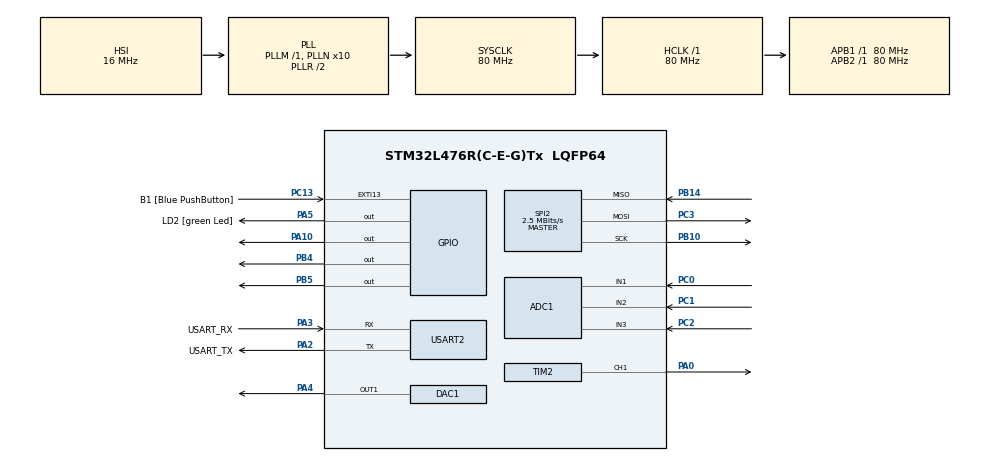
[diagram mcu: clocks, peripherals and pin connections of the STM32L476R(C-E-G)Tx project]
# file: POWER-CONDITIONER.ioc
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ADC1.Channel-0\#ChannelRegularConversion=ADC_CHANNEL_1
ADC1.Channel-1\#ChannelRegularConversion=ADC_CHANNEL_2
ADC1.Channel-2\#ChannelRegularConversion=ADC_CHANNEL_3
ADC1.DMAContinuousRequests=ENABLE
ADC1.ExternalTrigConv=ADC_EXTERNALTRIG_T6_TRGO
ADC1.NbrOfConversion=3
ADC1.NbrOfConversionFlag=1
ADC1.OffsetNumber-0\#ChannelRegularConversion=ADC_OFFSET_NONE
ADC1.OffsetNumber-1\#ChannelRegularConversion=ADC_OFFSET_NONE
ADC1.OffsetNumber-2\#ChannelRegularConversion=ADC_OFFSET_NONE
ADC1.Rank-0\#ChannelRegularConversion=1
ADC1.Rank-1\#ChannelRegularConversion=2
ADC1.Rank-2\#ChannelRegularConversion=3
ADC1.SamplingTime-0\#ChannelRegularConversion=ADC_SAMPLETIME_2CYCLES_5
ADC1.SamplingTime-1\#ChannelRegularConversion=ADC_SAMPLETIME_2CYCLES_5
ADC1.SamplingTime-2\#ChannelRegularConversion=ADC_SAMPLETIME_2CYCLES_5
ADC1.master=1
DAC1.DAC_Trigger-DAC_OUT1=DAC_TRIGGER_T6_TRGO
Dma.ADC1.1.Direction=DMA_PERIPH_TO_MEMORY
Dma.ADC1.1.Instance=DMA1_Channel1
Dma.ADC1.1.MemDataAlignment=DMA_MDATAALIGN_WORD
Dma.ADC1.1.MemInc=DMA_MINC_ENABLE
Dma.ADC1.1.Mode=DMA_NORMAL
Dma.ADC1.1.PeriphDataAlignment=DMA_PDATAALIGN_HALFWORD
Dma.ADC1.1.PeriphInc=DMA_PINC_DISABLE
Dma.ADC1.1.Priority=DMA_PRIORITY_HIGH
Dma.DAC_CH1.0.Direction=DMA_MEMORY_TO_PERIPH
Dma.DAC_CH1.0.Instance=DMA1_Channel3
Dma.DAC_CH1.0.MemDataAlignment=DMA_MDATAALIGN_WORD
Dma.DAC_CH1.0.MemInc=DMA_MINC_ENABLE
Dma.DAC_CH1.0.Mode=DMA_CIRCULAR
Dma.DAC_CH1.0.PeriphDataAlignment=DMA_PDATAALIGN_HALFWORD
Dma.DAC_CH1.0.PeriphInc=DMA_PINC_DISABLE
Dma.DAC_CH1.0.Priority=DMA_PRIORITY_HIGH
Dma.Request0=DAC_CH1
Dma.Request1=ADC1
FREERTOS.Tasks01=defaultTask,24,128,StartDefaultTask,Default,NULL,Dynamic,NULL,NULL
Mcu.Family=STM32L4
Mcu.Name=STM32L476R(C-E-G)Tx
Mcu.Package=LQFP64
NVIC.DMA1_Channel1_IRQn=true\:5\:0\:false\:false\:true\:true\:false\:true\:true
NVIC.DMA1_Channel3_IRQn=true\:5\:0\:false\:false\:true\:true\:false\:true\:true
NVIC.PriorityGroup=NVIC_PRIORITYGROUP_4
PA0.Signal=S_TIM2_CH1
PA10.Signal=GPIO_Output
PA13\ (JTMS-SWDIO).GPIO_Label=TMS
PA13\ (JTMS-SWDIO).Mode=Serial_Wire
PA13\ (JTMS-SWDIO).Signal=SYS_JTMS-SWDIO
PA14\ (JTCK-SWCLK).GPIO_Label=TCK
PA14\ (JTCK-SWCLK).Mode=Serial_Wire
PA14\ (JTCK-SWCLK).Signal=SYS_JTCK-SWCLK
PA2.GPIO_Label=USART_TX
PA2.GPIO_Mode=GPIO_MODE_AF_PP
PA2.GPIO_PuPd=GPIO_NOPULL
PA2.GPIO_Speed=GPIO_SPEED_FREQ_VERY_HIGH
PA2.Mode=Asynchronous
PA2.Signal=USART2_TX
PA3.GPIO_Label=USART_RX
PA3.GPIO_Mode=GPIO_MODE_AF_PP
PA3.GPIO_PuPd=GPIO_NOPULL
PA3.GPIO_Speed=GPIO_SPEED_FREQ_VERY_HIGH
PA3.Mode=Asynchronous
PA3.Signal=USART2_RX
PA4.Signal=COMP_DAC11_group
PA5.GPIO_Label=LD2 [green Led]
PA5.GPIO_ModeDefaultOutputPP=GPIO_MODE_OUTPUT_PP
PA5.GPIO_PuPd=GPIO_NOPULL
PA5.GPIO_Speed=GPIO_SPEED_FREQ_LOW
PA5.Signal=GPIO_Output
PB10.Mode=Full_Duplex_Master
PB10.Signal=SPI2_SCK
PB14.Mode=Full_Duplex_Master
PB14.Signal=SPI2_MISO
PB3\ (JTDO-TRACESWO).GPIO_Label=SWO
PB3\ (JTDO-TRACESWO).Signal=SYS_JTDO-SWO
PB4\ (NJTRST).Signal=GPIO_Output
PB5.Signal=GPIO_Output
PC0.Signal=ADCx_IN1
PC1.Signal=ADCx_IN2
PC13.GPIO_Label=B1 [Blue PushButton]
PC13.GPIO_ModeDefaultEXTI=GPIO_MODE_IT_FALLING
PC13.GPIO_PuPd=GPIO_NOPULL
PC13.Signal=GPXTI13
PC14-OSC32_IN\ (PC14).Mode=LSE-External-Oscillator
PC14-OSC32_IN\ (PC14).Signal=RCC_OSC32_IN
PC15-OSC32_OUT\ (PC15).Mode=LSE-External-Oscillator
PC15-OSC32_OUT\ (PC15).Signal=RCC_OSC32_OUT
PC2.Signal=ADCx_IN3
PC3.Mode=Full_Duplex_Master
PC3.Signal=SPI2_MOSI
PH0-OSC_IN\ (PH0).Signal=RCC_OSC_IN
PH1-OSC_OUT\ (PH1).Signal=RCC_OSC_OUT
ProjectManager.HeapSize=0x200
ProjectManager.StackSize=0x400
ProjectManager.TargetToolchain=STM32CubeIDE
RCC.ADCFreq_Value=64000000
RCC.AHBFreq_Value=80000000
RCC.APB1Freq_Value=80000000
RCC.APB1TimFreq_Value=80000000
RCC.APB2Freq_Value=80000000
RCC.APB2TimFreq_Value=80000000
RCC.CortexFreq_Value=80000000
RCC.HCLKFreq_Value=80000000
RCC.HSE_VALUE=8000000
RCC.HSI_VALUE=16000000
RCC.MSI_VALUE=4000000
RCC.PLLN=10
RCC.PLLSourceVirtual=RCC_PLLSOURCE_HSI
RCC.PREFETCH_ENABLE=1
RCC.SYSCLKFreq_VALUE=80000000
RCC.SYSCLKSource=RCC_SYSCLKSOURCE_PLLCLK
RCC.USBFreq_Value=64000000
RCC.VCOOutputFreq_Value=160000000
SH.ADCx_IN1.0=ADC1_IN1,IN1-Single-Ended
SH.ADCx_IN2.0=ADC1_IN2,IN2-Single-Ended
SH.ADCx_IN3.0=ADC1_IN3,IN3-Single-Ended
SH.COMP_DAC11_group.0=DAC1_OUT1,DAC_OUT1
SH.S_TIM2_CH1.0=TIM2_CH1,PWM Generation1 CH1
SPI2.BaudRatePrescaler=SPI_BAUDRATEPRESCALER_32
SPI2.CalculateBaudRate=2.5 MBits/s
SPI2.DataSize=SPI_DATASIZE_8BIT
SPI2.Direction=SPI_DIRECTION_2LINES
SPI2.Mode=SPI_MODE_MASTER
SPI2.VirtualType=VM_MASTER
TIM2.AutoReloadPreload=TIM_AUTORELOAD_PRELOAD_ENABLE
TIM2.Channel-PWM\ Generation1\ CH1=TIM_CHANNEL_1
TIM2.Period=1000-1
TIM2.Prescaler=80-1
TIM2.Pulse-PWM\ Generation1\ CH1=500
TIM6.AutoReloadPreload=TIM_AUTORELOAD_PRELOAD_DISABLE
TIM6.Period=100-1
TIM6.Prescaler=125-1
TIM6.TIM_MasterOutputTrigger=TIM_TRGO_UPDATE
USART2.VirtualMode-Asynchronous=VM_ASYNC
VP_FREERTOS_VS_CMSIS_V2.Mode=CMSIS_V2
VP_TIM2_VS_ClockSourceINT.Mode=Internal
VP_TIM6_VS_ClockSourceINT.Mode=Enable_Timer
board=NUCLEO-L476RG

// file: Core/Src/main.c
/* USER CODE BEGIN Header */
/**
  ******************************************************************************
  * @file           : main.c
  * @brief          : Main program body
  ******************************************************************************
  * @attention
  *
  * Copyright (c) 2024 STMicroelectronics.
  * All rights reserved.
  *
  * This software is licensed under terms that can be found in the LICENSE file
  * in the root directory of this software component.
  * If no LICENSE file comes with this software, it is provided AS-IS.
  *
  ******************************************************************************
  */
/* USER CODE END Header */
#include "main.h"
#include "cmsis_os.h"
#include "queue.h"
#include "semphr.h"
/* USER CODE BEGIN Includes */
#include "st7735.h"
#include "measurements.h"
/* USER CODE END Includes */

/* USER CODE BEGIN PD */
uint32_t SinusValues[128] ={
   2048U, 2145U, 2242U, 2339U, 2435U, 2530U, 2624U, 2717U, 2808U, 2897U,
   2984U, 3069U, 3151U, 3230U, 3307U, 3381U, 3451U, 3518U, 3581U, 3640U,
   3696U, 3748U, 3795U, 3838U, 3877U, 3911U, 3941U, 3966U, 3986U, 4002U,
   4013U, 4019U, 4020U, 4016U, 4008U, 3995U, 3977U, 3954U, 3926U, 3894U,
   3858U, 3817U, 3772U, 3722U, 3669U, 3611U, 3550U, 3485U, 3416U, 3344U,
   3269U, 3191U, 3110U, 3027U, 2941U, 2853U, 2763U, 2671U, 2578U, 2483U,
   2387U, 2291U, 2194U, 2096U, 1999U, 1901U, 1804U, 1708U, 1612U, 1517U,
   1424U, 1332U, 1242U, 1154U, 1068U, 985U, 904U, 826U, 751U, 679U,
   610U, 545U, 484U, 426U, 373U, 323U, 278U, 237U, 201U, 169U,
   141U, 118U, 100U, 87U, 79U, 75U, 76U, 82U, 93U, 109U,
   129U, 154U, 184U, 218U, 257U, 300U, 347U, 399U, 455U, 514U,
   577U, 644U, 714U, 788U, 865U, 944U, 1026U, 1111U, 1198U, 1287U,
   1378U, 1471U, 1565U, 1660U, 1756U, 1853U, 1950U, 2047
};

SemaphoreHandle_t xSemaphore_DisplayInit = NULL;
/* USER CODE END PD */

ADC_HandleTypeDef hadc1;
DMA_HandleTypeDef hdma_adc1;

DAC_HandleTypeDef hdac1;
DMA_HandleTypeDef hdma_dac_ch1;

SPI_HandleTypeDef hspi2;

TIM_HandleTypeDef htim2;
TIM_HandleTypeDef htim6;

UART_HandleTypeDef huart2;

/* Definitions for defaultTask */
osThreadId_t defaultTaskHandle;
const osThreadAttr_t defaultTask_attributes = {
  .name = "defaultTask",
  .stack_size = 128 * 4,
  .priority = (osPriority_t) osPriorityNormal,
};

/* Definitions for DisplayTask */
osThreadId_t DisplayTaskHandle;
const osThreadAttr_t DisplayTask_attributes = {
  .name = "DisplayTask",
  .stack_size = 256 * 4,
  .priority = (osPriority_t) osPriorityNormal,
};

/* Definitions for CalculationTask */
osThreadId_t CalculationTaskHandle;
const osThreadAttr_t CalculationTask_attributes = {
  .name = "CalculationTask",
  .stack_size = 5120 * 4,
  .priority = (osPriority_t) osPriorityHigh,
};
/* USER CODE BEGIN PV */
QueueHandle_t xQueueMeasureWatchList;
/* USER CODE END PV */

void SystemClock_Config(void);
static void MX_GPIO_Init(void);
static void MX_DMA_Init(void);
static void MX_USART2_UART_Init(void);
static void MX_SPI2_Init(void);
static void MX_DAC1_Init(void);
static void MX_TIM6_Init(void);
static void MX_ADC1_Init(void);
static void MX_TIM2_Init(void);
void StartDefaultTask(void *argument);
void StartDisplayTask(void *argument);
void StartCalculationTask(void *argument);

int main(void)
{

  /* MCU Configuration--------------------------------------------------------*/

  /* Reset of all peripherals, Initializes the Flash interface and the Systick. */
  HAL_Init();

  /* Configure the system clock */
  SystemClock_Config();

  /* Initialize all configured peripherals */
  MX_GPIO_Init();
  MX_DMA_Init();
  MX_USART2_UART_Init();
  MX_SPI2_Init();
  MX_DAC1_Init();
  MX_TIM6_Init();
  MX_ADC1_Init();
  MX_TIM2_Init();
  /* USER CODE BEGIN 2 */
  ST7735_Init();
  HAL_TIM_Base_Start(&htim6);
  HAL_DAC_Start_DMA(&hdac1, DAC_CHANNEL_1, SinusValues, SAMPLES_AMOUNT_PER_ONE_PERIOD, DAC_ALIGN_12B_R);
  HAL_ADC_Start_DMA(&hadc1, Samples[0], AMOUNT_OF_ALL_SAMPLES);
  HAL_TIM_PWM_Start(&htim2, TIM_CHANNEL_1);
  /* USER CODE END 2 */

  /* Init scheduler */
  osKernelInitialize();

  /* USER CODE BEGIN RTOS_SEMAPHORES */
  /* add semaphores, ... */
  xSemaphore_DisplayInit = xSemaphoreCreateBinary();
  if (NULL == xSemaphore_DisplayInit) while(1);
  xSemaphoreGive(xSemaphore_DisplayInit);
  /* USER CODE END RTOS_SEMAPHORES */

  /* USER CODE BEGIN RTOS_QUEUES */
  /* add queues, ... */
  xQueueMeasureWatchList = xQueueCreate(5U, sizeof(Measure_Message_t));
  if(NULL == xQueueMeasureWatchList)
  {
    Error_Handler();
  }
  /* USER CODE END RTOS_QUEUES */

  /* Create the thread(s) */
  /* creation of defaultTask */
  defaultTaskHandle = osThreadNew(StartDefaultTask, NULL, &defaultTask_attributes);

  /* creation of DisplayTask */
  DisplayTaskHandle = osThreadNew(StartDisplayTask, NULL, &DisplayTask_attributes);

  /* creation of CalculationTask */
  CalculationTaskHandle = osThreadNew(StartCalculationTask, NULL, &CalculationTask_attributes);

  vTaskSuspend(CalculationTaskHandle);

  /* Start scheduler */
  osKernelStart();

  /* We should never get here as control is now taken by the scheduler */
  /* Infinite loop */
  while (1)
  {

  }
}

void SystemClock_Config(void)
{
  RCC_OscInitTypeDef RCC_OscInitStruct = {0};
  RCC_ClkInitTypeDef RCC_ClkInitStruct = {0};

  /** Configure the main internal regulator output voltage
  */
  if (HAL_PWREx_ControlVoltageScaling(PWR_REGULATOR_VOLTAGE_SCALE1) != HAL_OK)
  {
    Error_Handler();
  }

  /** Initializes the RCC Oscillators according to the specified parameters
  * in the RCC_OscInitTypeDef structure.
  */
  RCC_OscInitStruct.OscillatorType = RCC_OSCILLATORTYPE_HSI;
  RCC_OscInitStruct.HSIState = RCC_HSI_ON;
  RCC_OscInitStruct.HSICalibrationValue = RCC_HSICALIBRATION_DEFAULT;
  RCC_OscInitStruct.PLL.PLLState = RCC_PLL_ON;
  RCC_OscInitStruct.PLL.PLLSource = RCC_PLLSOURCE_HSI;
  RCC_OscInitStruct.PLL.PLLM = 1;
  RCC_OscInitStruct.PLL.PLLN = 10;
  RCC_OscInitStruct.PLL.PLLP = RCC_PLLP_DIV7;
  RCC_OscInitStruct.PLL.PLLQ = RCC_PLLQ_DIV2;
  RCC_OscInitStruct.PLL.PLLR = RCC_PLLR_DIV2;
  if (HAL_RCC_OscConfig(&RCC_OscInitStruct) != HAL_OK)
  {
    Error_Handler();
  }

  /** Initializes the CPU, AHB and APB buses clocks
  */
  RCC_ClkInitStruct.ClockType = RCC_CLOCKTYPE_HCLK|RCC_CLOCKTYPE_SYSCLK
                              |RCC_CLOCKTYPE_PCLK1|RCC_CLOCKTYPE_PCLK2;
  RCC_ClkInitStruct.SYSCLKSource = RCC_SYSCLKSOURCE_PLLCLK;
  RCC_ClkInitStruct.AHBCLKDivider = RCC_SYSCLK_DIV1;
  RCC_ClkInitStruct.APB1CLKDivider = RCC_HCLK_DIV1;
  RCC_ClkInitStruct.APB2CLKDivider = RCC_HCLK_DIV1;

  if (HAL_RCC_ClockConfig(&RCC_ClkInitStruct, FLASH_LATENCY_4) != HAL_OK)
  {
    Error_Handler();
  }
}

static void MX_ADC1_Init(void)
{

  ADC_MultiModeTypeDef multimode = {0};
  ADC_ChannelConfTypeDef sConfig = {0};

  /** Common config
  */
  hadc1.Instance = ADC1;
  hadc1.Init.ClockPrescaler = ADC_CLOCK_ASYNC_DIV1;
  hadc1.Init.Resolution = ADC_RESOLUTION_12B;
  hadc1.Init.DataAlign = ADC_DATAALIGN_RIGHT;
  hadc1.Init.ScanConvMode = ADC_SCAN_ENABLE;
  hadc1.Init.EOCSelection = ADC_EOC_SINGLE_CONV;
  hadc1.Init.LowPowerAutoWait = DISABLE;
  hadc1.Init.ContinuousConvMode = DISABLE;
  hadc1.Init.NbrOfConversion = 3;
  hadc1.Init.DiscontinuousConvMode = DISABLE;
  hadc1.Init.ExternalTrigConv = ADC_EXTERNALTRIG_T6_TRGO;
  hadc1.Init.ExternalTrigConvEdge = ADC_EXTERNALTRIGCONVEDGE_RISING;
  hadc1.Init.DMAContinuousRequests = ENABLE;
  hadc1.Init.Overrun = ADC_OVR_DATA_PRESERVED;
  hadc1.Init.OversamplingMode = DISABLE;
  if (HAL_ADC_Init(&hadc1) != HAL_OK)
  {
    Error_Handler();
  }

  /** Configure the ADC multi-mode
  */
  multimode.Mode = ADC_MODE_INDEPENDENT;
  if (HAL_ADCEx_MultiModeConfigChannel(&hadc1, &multimode) != HAL_OK)
  {
    Error_Handler();
  }

  /** Configure Regular Channel
  */
  sConfig.Channel = ADC_CHANNEL_1;
  sConfig.Rank = ADC_REGULAR_RANK_1;
  sConfig.SamplingTime = ADC_SAMPLETIME_2CYCLES_5;
  sConfig.SingleDiff = ADC_SINGLE_ENDED;
  sConfig.OffsetNumber = ADC_OFFSET_NONE;
  sConfig.Offset = 0;
  if (HAL_ADC_ConfigChannel(&hadc1, &sConfig) != HAL_OK)
  {
    Error_Handler();
  }

  /** Configure Regular Channel
  */
  sConfig.Channel = ADC_CHANNEL_2;
  sConfig.Rank = ADC_REGULAR_RANK_2;
  if (HAL_ADC_ConfigChannel(&hadc1, &sConfig) != HAL_OK)
  {
    Error_Handler();
  }

  /** Configure Regular Channel
  */
  sConfig.Channel = ADC_CHANNEL_3;
  sConfig.Rank = ADC_REGULAR_RANK_3;
  if (HAL_ADC_ConfigChannel(&hadc1, &sConfig) != HAL_OK)
  {
    Error_Handler();
  }

}

static void MX_DAC1_Init(void)
{

  DAC_ChannelConfTypeDef sConfig = {0};

  /** DAC Initialization
  */
  hdac1.Instance = DAC1;
  if (HAL_DAC_Init(&hdac1) != HAL_OK)
  {
    Error_Handler();
  }

  /** DAC channel OUT1 config
  */
  sConfig.DAC_SampleAndHold = DAC_SAMPLEANDHOLD_DISABLE;
  sConfig.DAC_Trigger = DAC_TRIGGER_T6_TRGO;
  sConfig.DAC_OutputBuffer = DAC_OUTPUTBUFFER_ENABLE;
  sConfig.DAC_ConnectOnChipPeripheral = DAC_CHIPCONNECT_DISABLE;
  sConfig.DAC_UserTrimming = DAC_TRIMMING_FACTORY;
  if (HAL_DAC_ConfigChannel(&hdac1, &sConfig, DAC_CHANNEL_1) != HAL_OK)
  {
    Error_Handler();
  }

}

static void MX_SPI2_Init(void)
{

  /* SPI2 parameter configuration*/
  hspi2.Instance = SPI2;
  hspi2.Init.Mode = SPI_MODE_MASTER;
  hspi2.Init.Direction = SPI_DIRECTION_2LINES;
  hspi2.Init.DataSize = SPI_DATASIZE_8BIT;
  hspi2.Init.CLKPolarity = SPI_POLARITY_LOW;
  hspi2.Init.CLKPhase = SPI_PHASE_1EDGE;
  hspi2.Init.NSS = SPI_NSS_SOFT;
  hspi2.Init.BaudRatePrescaler = SPI_BAUDRATEPRESCALER_32;
  hspi2.Init.FirstBit = SPI_FIRSTBIT_MSB;
  hspi2.Init.TIMode = SPI_TIMODE_DISABLE;
  hspi2.Init.CRCCalculation = SPI_CRCCALCULATION_DISABLE;
  hspi2.Init.CRCPolynomial = 7;
  hspi2.Init.CRCLength = SPI_CRC_LENGTH_DATASIZE;
  hspi2.Init.NSSPMode = SPI_NSS_PULSE_ENABLE;
  if (HAL_SPI_Init(&hspi2) != HAL_OK)
  {
    Error_Handler();
  }

}

static void MX_TIM2_Init(void)
{

  TIM_ClockConfigTypeDef sClockSourceConfig = {0};
  TIM_MasterConfigTypeDef sMasterConfig = {0};
  TIM_OC_InitTypeDef sConfigOC = {0};

  htim2.Instance = TIM2;
  htim2.Init.Prescaler = 80-1;
  htim2.Init.CounterMode = TIM_COUNTERMODE_UP;
  htim2.Init.Period = 1000-1;
  htim2.Init.ClockDivision = TIM_CLOCKDIVISION_DIV1;
  htim2.Init.AutoReloadPreload = TIM_AUTORELOAD_PRELOAD_ENABLE;
  if (HAL_TIM_Base_Init(&htim2) != HAL_OK)
  {
    Error_Handler();
  }
  sClockSourceConfig.ClockSource = TIM_CLOCKSOURCE_INTERNAL;
  if (HAL_TIM_ConfigClockSource(&htim2, &sClockSourceConfig) != HAL_OK)
  {
    Error_Handler();
  }
  if (HAL_TIM_PWM_Init(&htim2) != HAL_OK)
  {
    Error_Handler();
  }
  sMasterConfig.MasterOutputTrigger = TIM_TRGO_RESET;
  sMasterConfig.MasterSlaveMode = TIM_MASTERSLAVEMODE_DISABLE;
  if (HAL_TIMEx_MasterConfigSynchronization(&htim2, &sMasterConfig) != HAL_OK)
  {
    Error_Handler();
  }
  sConfigOC.OCMode = TIM_OCMODE_PWM1;
  sConfigOC.Pulse = 500;
  sConfigOC.OCPolarity = TIM_OCPOLARITY_HIGH;
  sConfigOC.OCFastMode = TIM_OCFAST_DISABLE;
  if (HAL_TIM_PWM_ConfigChannel(&htim2, &sConfigOC, TIM_CHANNEL_1) != HAL_OK)
  {
    Error_Handler();
  }
  HAL_TIM_MspPostInit(&htim2);

}

static void MX_TIM6_Init(void)
{

  TIM_MasterConfigTypeDef sMasterConfig = {0};

  htim6.Instance = TIM6;
  htim6.Init.Prescaler = 125-1;
  htim6.Init.CounterMode = TIM_COUNTERMODE_UP;
  htim6.Init.Period = 100-1;
  htim6.Init.AutoReloadPreload = TIM_AUTORELOAD_PRELOAD_DISABLE;
  if (HAL_TIM_Base_Init(&htim6) != HAL_OK)
  {
    Error_Handler();
  }
  sMasterConfig.MasterOutputTrigger = TIM_TRGO_UPDATE;
  sMasterConfig.MasterSlaveMode = TIM_MASTERSLAVEMODE_DISABLE;
  if (HAL_TIMEx_MasterConfigSynchronization(&htim6, &sMasterConfig) != HAL_OK)
  {
    Error_Handler();
  }

}

static void MX_USART2_UART_Init(void)
{

  huart2.Instance = USART2;
  huart2.Init.BaudRate = 115200;
  huart2.Init.WordLength = UART_WORDLENGTH_8B;
  huart2.Init.StopBits = UART_STOPBITS_1;
  huart2.Init.Parity = UART_PARITY_NONE;
  huart2.Init.Mode = UART_MODE_TX_RX;
  huart2.Init.HwFlowCtl = UART_HWCONTROL_NONE;
  huart2.Init.OverSampling = UART_OVERSAMPLING_16;
  huart2.Init.OneBitSampling = UART_ONE_BIT_SAMPLE_DISABLE;
  huart2.AdvancedInit.AdvFeatureInit = UART_ADVFEATURE_NO_INIT;
  if (HAL_UART_Init(&huart2) != HAL_OK)
  {
    Error_Handler();
  }

}

static void MX_DMA_Init(void)
{

  /* DMA controller clock enable */
  __HAL_RCC_DMA1_CLK_ENABLE();

  /* DMA interrupt init */
  /* DMA1_Channel1_IRQn interrupt configuration */
  HAL_NVIC_SetPriority(DMA1_Channel1_IRQn, 5, 0);
  HAL_NVIC_EnableIRQ(DMA1_Channel1_IRQn);
  /* DMA1_Channel3_IRQn interrupt configuration */
  HAL_NVIC_SetPriority(DMA1_Channel3_IRQn, 5, 0);
  HAL_NVIC_EnableIRQ(DMA1_Channel3_IRQn);

}

static void MX_GPIO_Init(void)
{
  GPIO_InitTypeDef GPIO_InitStruct = {0};

  /* GPIO Ports Clock Enable */
  __HAL_RCC_GPIOC_CLK_ENABLE();
  __HAL_RCC_GPIOH_CLK_ENABLE();
  __HAL_RCC_GPIOA_CLK_ENABLE();
  __HAL_RCC_GPIOB_CLK_ENABLE();

  /*Configure GPIO pin Output Level */
  HAL_GPIO_WritePin(GPIOA, LD2_Pin|GPIO_PIN_10, GPIO_PIN_RESET);

  /*Configure GPIO pin Output Level */
  HAL_GPIO_WritePin(GPIOB, GPIO_PIN_4|GPIO_PIN_5, GPIO_PIN_RESET);

  /*Configure GPIO pin : B1_Pin */
  GPIO_InitStruct.Pin = B1_Pin;
  GPIO_InitStruct.Mode = GPIO_MODE_IT_FALLING;
  GPIO_InitStruct.Pull = GPIO_NOPULL;
  HAL_GPIO_Init(B1_GPIO_Port, &GPIO_InitStruct);

  /*Configure GPIO pins : LD2_Pin PA10 */
  GPIO_InitStruct.Pin = LD2_Pin|GPIO_PIN_10;
  GPIO_InitStruct.Mode = GPIO_MODE_OUTPUT_PP;
  GPIO_InitStruct.Pull = GPIO_NOPULL;
  GPIO_InitStruct.Speed = GPIO_SPEED_FREQ_LOW;
  HAL_GPIO_Init(GPIOA, &GPIO_InitStruct);

  /*Configure GPIO pins : PB4 PB5 */
  GPIO_InitStruct.Pin = GPIO_PIN_4|GPIO_PIN_5;
  GPIO_InitStruct.Mode = GPIO_MODE_OUTPUT_PP;
  GPIO_InitStruct.Pull = GPIO_NOPULL;
  GPIO_InitStruct.Speed = GPIO_SPEED_FREQ_LOW;
  HAL_GPIO_Init(GPIOB, &GPIO_InitStruct);

}

void StartDefaultTask(void *argument)
{
  /* USER CODE BEGIN 5 */

  /* Infinite loop */
  for(;;)
  {
    HAL_GPIO_TogglePin(GPIOA, GPIO_PIN_5);
    HAL_UART_Transmit(&huart2, "Default\r\n", 10, 1000);

    vTaskDelay( 1000 / portTICK_RATE_MS );
  }

  vTaskDelete(NULL);
  /* USER CODE END 5 */
}

void StartDisplayTask(void *argument)
{
  /* USER CODE BEGIN 5 */
  Measure_Message_t Measure_Message_Receive;
  /* Infinite loop */
  for(;;)
  {
    if (pdTRUE == xSemaphoreTake(xSemaphore_DisplayInit, 150 / portTICK_RATE_MS))
    {
      ScreenInit();
      HAL_UART_Transmit(&huart2, "Display init\r\n", 15, 1000);
    }
    else
    {
      if (NULL != xQueueMeasureWatchList)
        {
          xQueueReceive(xQueueMeasureWatchList, &Measure_Message_Receive, 100 / portTICK_RATE_MS);
          ScreenMeasureRefresh(Measure_Message_Receive);
          HAL_UART_Transmit(&huart2, "Display refresh\r\n", 18, 1000);
        }
    }

    vTaskDelay( 100 / portTICK_RATE_MS );
  }

  vTaskDelete(NULL);
  /* USER CODE END 5 */
}

void StartCalculationTask(void *argument)
{
  /* USER CODE BEGIN 5 */
  Measure_Message_t Measure_Message_Send;
  /* Infinite loop */
  for(;;)
  {
    if(HAL_DMA_GetState(&hdma_adc1) == HAL_DMA_STATE_READY)
    {
      Measure_Calculate();
      HAL_UART_Transmit(&huart2, "Calc refresh\r\n", 15, 1000);

      Measure_Message_Send.ID = 1U;
      Measure_Message_Send.Measure_Watch_List = Measure_Watch_list;

      if (NULL != xQueueMeasureWatchList)
      {
        xQueueSend(xQueueMeasureWatchList, &Measure_Message_Send, 100 / portTICK_RATE_MS);
      }

      HAL_ADC_Start_DMA(&hadc1, Samples[0], AMOUNT_OF_ALL_SAMPLES);
      vTaskSuspend(NULL);
    }
  }

  vTaskDelete(NULL);
  /* USER CODE END 5 */
}

void Error_Handler(void)
{
  __disable_irq();
  while (1)
  {
  }
}

/**
  * @brief  DMA conversion complete callback
  * @note   This function is executed when the transfer complete interrupt
  *         is generated
  * @retval None
  */
void HAL_ADC_ConvCpltCallback(ADC_HandleTypeDef *hadc)
{
  if (hadc1.DMA_Handle->Instance == hadc->DMA_Handle->Instance)
  {
    HAL_ADC_Stop_DMA(&hadc1);
    xTaskResumeFromISR(CalculationTaskHandle);
  }
}
